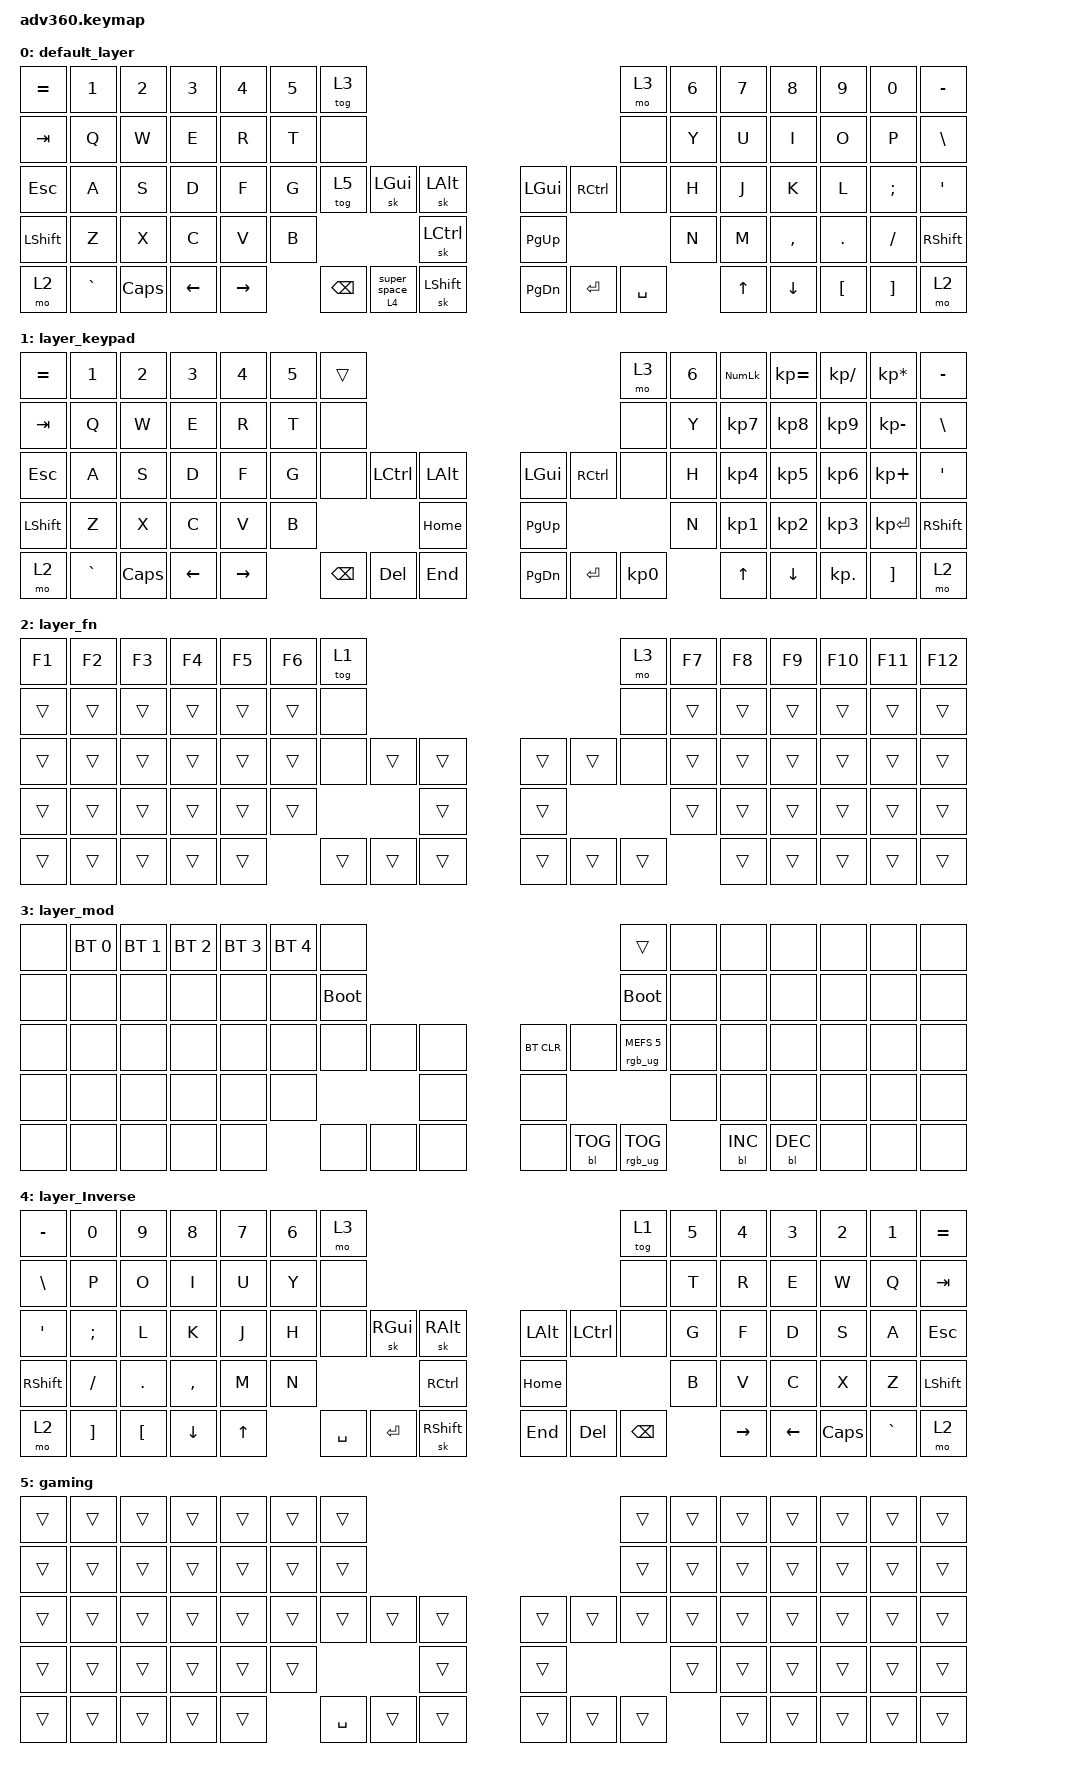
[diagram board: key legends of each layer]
/*
 * Copyright (c) 2020 The ZMK Contributors
 *
 * SPDX-License-Identifier: MIT
 */
/* THIS FILE WAS GENERATED!
 *
 * This file was generated automatically. You may or may not want to
 * edit it directly.
 */

#include <behaviors.dtsi>
#include <dt-bindings/zmk/backlight.h>
#include <dt-bindings/zmk/bt.h>
#include <dt-bindings/zmk/keys.h>
#include <dt-bindings/zmk/rgb.h>

/ {
    behaviors {
        #include "macros.dtsi"
    #include "version.dtsi"

        hm: homerow_mods {
            compatible = "zmk,behavior-hold-tap";
            label = "HOMEROW_MODS";
            #binding-cells = <2>;
            tapping-term-ms = <200>;
            quick_tap_ms = <175>;
            flavor = "tap-preferred";
            bindings = <&kp>, <&kp>;
        };

        SPACEBK: SPACEBK {
            compatible = "zmk,behavior-mod-morph";
            label = "SPACEBK";
            bindings = <&kp SPACE>, <&kp BACKSPACE>;

            #binding-cells = <0>;
            mods = <(MOD_LSFT|MOD_RSFT)>;
        };

        super_space: super_space {
            compatible = "zmk,behavior-mod-morph";
            label = "SUPER_SPACE";
            bindings = <&kp SPACE>, <&kp ENTER>;

            #binding-cells = <0>;
            mods = <(MOD_RSFT|MOD_LSFT)>;
        };

        fullSpace: fullSpace {
            compatible = "zmk,behavior-hold-tap";
            label = "FULLSPACE";
            bindings = <&mo>, <&super_space>;

            #binding-cells = <2>;
            tapping-term-ms = <200>;
        };
    };

    keymap {
        compatible = "zmk,keymap";

        default_layer {
            bindings = <
&kp EQUAL  &kp N1     &kp N2    &kp N3    &kp N4     &kp N5  &tog 3                                                                     &mo 3      &kp N6  &kp N7  &kp N8     &kp N9    &kp N0    &kp MINUS
&kp TAB    &kp Q      &kp W     &kp E     &kp R      &kp T   &none                                                                      &none      &kp Y   &kp U   &kp I      &kp O     &kp P     &kp BSLH
&kp ESC    &kp A      &kp S     &kp D     &kp F      &kp G   &tog 5         &sk LGUI        &sk LALT              &kp LGUI   &kp RCTRL  &none      &kp H   &kp J   &kp K      &kp L     &kp SEMI  &kp SQT
&kp LSHFT  &kp Z      &kp X     &kp C     &kp V      &kp B                                  &sk LEFT_CONTROL      &kp PG_UP                        &kp N   &kp M   &kp COMMA  &kp DOT   &kp FSLH  &kp RSHFT
&mo 2      &kp GRAVE  &kp CAPS  &kp LEFT  &kp RIGHT          &kp BACKSPACE  &fullSpace 4 0  &sk LEFT_SHIFT        &kp PG_DN  &kp ENTER  &kp SPACE          &kp UP  &kp DOWN   &kp LBKT  &kp RBKT  &mo 2
            >;
        };

        layer_keypad {
            bindings = <
&kp EQUAL  &kp N1     &kp N2    &kp N3    &kp N4     &kp N5  &trans                                                   &mo 3      &kp N6  &kp KP_NUM  &kp KP_EQUAL  &kp KP_DIVIDE  &kp KP_MULTIPLY  &kp MINUS
&kp TAB    &kp Q      &kp W     &kp E     &kp R      &kp T   &none                                                    &none      &kp Y   &kp KP_N7   &kp KP_N8     &kp KP_N9      &kp KP_MINUS     &kp BSLH
&kp ESC    &kp A      &kp S     &kp D     &kp F      &kp G   &none     &kp LCTRL  &kp LALT      &kp LGUI   &kp RCTRL  &none      &kp H   &kp KP_N4   &kp KP_N5     &kp KP_N6      &kp KP_PLUS      &kp SQT
&kp LSHFT  &kp Z      &kp X     &kp C     &kp V      &kp B                        &kp HOME      &kp PG_UP                        &kp N   &kp KP_N1   &kp KP_N2     &kp KP_N3      &kp KP_ENTER     &kp RSHFT
&mo 2      &kp GRAVE  &kp CAPS  &kp LEFT  &kp RIGHT          &kp BSPC  &kp DEL    &kp END       &kp PG_DN  &kp ENTER  &kp KP_N0          &kp UP      &kp DOWN      &kp KP_DOT     &kp RBKT         &mo 2
            >;
        };

        layer_fn {
            bindings = <
&kp F1  &kp F2  &kp F3  &kp F4  &kp F5  &kp F6  &tog 1                                      &mo 3   &kp F7  &kp F8  &kp F9  &kp F10  &kp F11  &kp F12
&trans  &trans  &trans  &trans  &trans  &trans  &none                                       &none   &trans  &trans  &trans  &trans   &trans   &trans
&trans  &trans  &trans  &trans  &trans  &trans  &none   &trans  &trans      &trans  &trans  &none   &trans  &trans  &trans  &trans   &trans   &trans
&trans  &trans  &trans  &trans  &trans  &trans                  &trans      &trans                  &trans  &trans  &trans  &trans   &trans   &trans
&trans  &trans  &trans  &trans  &trans          &trans  &trans  &trans      &trans  &trans  &trans          &trans  &trans  &trans   &trans   &trans
            >;
        };

        layer_mod {
            bindings = <
&none  &bt BT_SEL 0  &bt BT_SEL 1  &bt BT_SEL 2  &bt BT_SEL 3  &bt BT_SEL 4  &none                                                  &trans                  &none  &none       &none       &none  &none  &none
&none  &none         &none         &none         &none         &none         &bootloader                                            &bootloader             &none  &none       &none       &none  &none  &none
&none  &none         &none         &none         &none         &none         &none        &none  &none      &bt BT_CLR  &none       &rgb_ug RGB_MEFS_CMD 5  &none  &none       &none       &none  &none  &none
&none  &none         &none         &none         &none         &none                             &none      &none                                           &none  &none       &none       &none  &none  &none
&none  &none         &none         &none         &none                       &none        &none  &none      &none       &bl BL_TOG  &rgb_ug RGB_TOG                &bl BL_INC  &bl BL_DEC  &none  &none  &none
            >;
        };

        layer_Inverse {
            bindings = <
&kp MINUS  &kp N0    &kp N9    &kp N8     &kp N7  &kp N6  &mo 3                                                           &tog 1    &kp N5  &kp N4     &kp N3    &kp N2    &kp N1     &kp EQUAL
&kp BSLH   &kp P     &kp O     &kp I      &kp U   &kp Y   &none                                                           &none     &kp T   &kp R      &kp E     &kp W     &kp Q      &kp TAB
&kp SQT    &kp SEMI  &kp L     &kp K      &kp J   &kp H   &none      &sk RGUI   &sk RIGHT_ALT        &kp LALT  &kp LCTRL  &none     &kp G   &kp F      &kp D     &kp S     &kp A      &kp ESC
&kp RSHFT  &kp FSLH  &kp DOT   &kp COMMA  &kp M   &kp N                         &kp RCTRL            &kp HOME                       &kp B   &kp V      &kp C     &kp X     &kp Z      &kp LSHFT
&mo 2      &kp RBKT  &kp LBKT  &kp DOWN   &kp UP          &kp SPACE  &kp ENTER  &sk RIGHT_SHIFT      &kp END   &kp DEL    &kp BSPC          &kp RIGHT  &kp LEFT  &kp CAPS  &kp GRAVE  &mo 2
            >;
        };

        gaming {
            bindings = <
&trans  &trans  &trans  &trans  &trans  &trans  &trans                                         &trans  &trans  &trans  &trans  &trans  &trans  &trans
&trans  &trans  &trans  &trans  &trans  &trans  &trans                                         &trans  &trans  &trans  &trans  &trans  &trans  &trans
&trans  &trans  &trans  &trans  &trans  &trans  &trans     &trans  &trans      &trans  &trans  &trans  &trans  &trans  &trans  &trans  &trans  &trans
&trans  &trans  &trans  &trans  &trans  &trans                     &trans      &trans                  &trans  &trans  &trans  &trans  &trans  &trans
&trans  &trans  &trans  &trans  &trans          &kp SPACE  &trans  &trans      &trans  &trans  &trans          &trans  &trans  &trans  &trans  &trans
            >;
        };
    };
};
